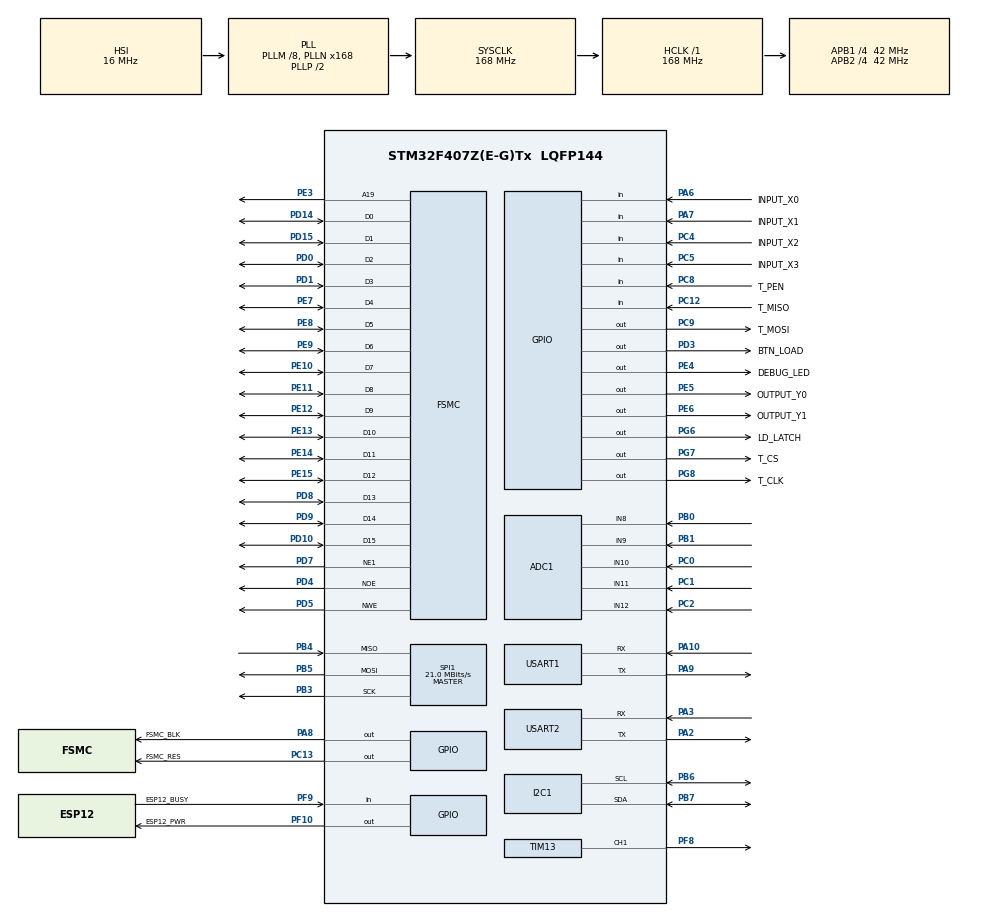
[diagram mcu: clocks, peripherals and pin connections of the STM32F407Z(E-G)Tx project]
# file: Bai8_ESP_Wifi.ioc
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ADC1.Channel-0\#ChannelRegularConversion=ADC_CHANNEL_8
ADC1.Channel-1\#ChannelRegularConversion=ADC_CHANNEL_9
ADC1.Channel-2\#ChannelRegularConversion=ADC_CHANNEL_10
ADC1.Channel-3\#ChannelRegularConversion=ADC_CHANNEL_11
ADC1.Channel-4\#ChannelRegularConversion=ADC_CHANNEL_12
ADC1.NbrOfConversion=5
ADC1.NbrOfConversionFlag=1
ADC1.Rank-0\#ChannelRegularConversion=1
ADC1.Rank-1\#ChannelRegularConversion=2
ADC1.Rank-2\#ChannelRegularConversion=3
ADC1.Rank-3\#ChannelRegularConversion=4
ADC1.Rank-4\#ChannelRegularConversion=5
ADC1.SamplingTime-0\#ChannelRegularConversion=ADC_SAMPLETIME_3CYCLES
ADC1.SamplingTime-1\#ChannelRegularConversion=ADC_SAMPLETIME_3CYCLES
ADC1.SamplingTime-2\#ChannelRegularConversion=ADC_SAMPLETIME_3CYCLES
ADC1.SamplingTime-3\#ChannelRegularConversion=ADC_SAMPLETIME_3CYCLES
ADC1.SamplingTime-4\#ChannelRegularConversion=ADC_SAMPLETIME_3CYCLES
ADC1.ScanConvMode=ENABLE
ADC1.master=1
Dma.ADC1.0.Direction=DMA_PERIPH_TO_MEMORY
Dma.ADC1.0.FIFOMode=DMA_FIFOMODE_DISABLE
Dma.ADC1.0.Instance=DMA2_Stream0
Dma.ADC1.0.MemDataAlignment=DMA_MDATAALIGN_HALFWORD
Dma.ADC1.0.MemInc=DMA_MINC_ENABLE
Dma.ADC1.0.Mode=DMA_CIRCULAR
Dma.ADC1.0.PeriphDataAlignment=DMA_PDATAALIGN_HALFWORD
Dma.ADC1.0.PeriphInc=DMA_PINC_DISABLE
Dma.ADC1.0.Priority=DMA_PRIORITY_LOW
Dma.Request0=ADC1
FSMC.AddressSetupTime1=0xf
FSMC.BusTurnAroundDuration1=0
FSMC.DataSetupTime1=60
FSMC.ExtendedAddressSetupTime1=8
FSMC.ExtendedBusTurnAroundDuration1=0
FSMC.ExtendedDataSetupTime1=9
FSMC.ExtendedMode1=FSMC_EXTENDED_MODE_ENABLE
I2C1.I2C_Mode=I2C_Standard
Mcu.Family=STM32F4
Mcu.Name=STM32F407Z(E-G)Tx
Mcu.Package=LQFP144
NVIC.DMA2_Stream0_IRQn=true\:0\:0\:false\:false\:true\:false\:true\:true
NVIC.PriorityGroup=NVIC_PRIORITYGROUP_4
NVIC.TIM2_IRQn=true\:0\:0\:false\:false\:true\:true\:true\:true
NVIC.USART1_IRQn=true\:0\:0\:false\:false\:true\:true\:true\:true
NVIC.USART2_IRQn=true\:0\:0\:false\:false\:true\:true\:true\:true
PA10.Mode=Asynchronous
PA10.Signal=USART1_RX
PA13.Mode=Serial_Wire
PA13.Signal=SYS_JTMS-SWDIO
PA14.Mode=Serial_Wire
PA14.Signal=SYS_JTCK-SWCLK
PA2.Mode=Asynchronous
PA2.Signal=USART2_TX
PA3.Mode=Asynchronous
PA3.Signal=USART2_RX
PA6.GPIO_Label=INPUT_X0
PA6.Signal=GPIO_Input
PA7.GPIO_Label=INPUT_X1
PA7.Signal=GPIO_Input
PA8.GPIO_Label=FSMC_BLK
PA8.Signal=GPIO_Output
PA9.Mode=Asynchronous
PA9.Signal=USART1_TX
PB0.Signal=ADCx_IN8
PB1.Signal=ADCx_IN9
PB3.Mode=Full_Duplex_Master
PB3.Signal=SPI1_SCK
PB4.Mode=Full_Duplex_Master
PB4.Signal=SPI1_MISO
PB5.Mode=Full_Duplex_Master
PB5.Signal=SPI1_MOSI
PB6.Mode=I2C
PB6.Signal=I2C1_SCL
PB7.Mode=I2C
PB7.Signal=I2C1_SDA
PC0.Signal=ADCx_IN10
PC1.Signal=ADCx_IN11
PC12.GPIO_Label=T_MISO
PC12.GPIO_PuPd=GPIO_PULLUP
PC12.Signal=GPIO_Input
PC13-ANTI_TAMP.GPIO_Label=FSMC_RES
PC13-ANTI_TAMP.Signal=GPIO_Output
PC2.Signal=ADCx_IN12
PC4.GPIO_Label=INPUT_X2
PC4.Signal=GPIO_Input
PC5.GPIO_Label=INPUT_X3
PC5.Signal=GPIO_Input
PC8.GPIO_Label=T_PEN
PC8.GPIO_PuPd=GPIO_PULLUP
PC8.Signal=GPIO_Input
PC9.GPIO_Label=T_MOSI
PC9.Signal=GPIO_Output
PD0.Signal=FSMC_D2_DA2
PD1.Signal=FSMC_D3_DA3
PD10.Signal=FSMC_D15_DA15
PD14.Signal=FSMC_D0_DA0
PD15.Signal=FSMC_D1_DA1
PD3.GPIO_Label=BTN_LOAD
PD3.Signal=GPIO_Output
PD4.Signal=FSMC_NOE
PD5.Signal=FSMC_NWE
PD7.Mode=NorPsramChipSelect1_1
PD7.Signal=FSMC_NE1
PD8.Signal=FSMC_D13_DA13
PD9.Signal=FSMC_D14_DA14
PE10.Signal=FSMC_D7_DA7
PE11.Signal=FSMC_D8_DA8
PE12.Signal=FSMC_D9_DA9
PE13.Signal=FSMC_D10_DA10
PE14.Signal=FSMC_D11_DA11
PE15.Signal=FSMC_D12_DA12
PE3.Signal=FSMC_A19
PE4.GPIO_Label=DEBUG_LED
PE4.Signal=GPIO_Output
PE5.GPIO_Label=OUTPUT_Y0
PE5.Signal=GPIO_Output
PE6.GPIO_Label=OUTPUT_Y1
PE6.Signal=GPIO_Output
PE7.Signal=FSMC_D4_DA4
PE8.Signal=FSMC_D5_DA5
PE9.Signal=FSMC_D6_DA6
PF10.GPIO_Label=ESP12_PWR
PF10.Signal=GPIO_Output
PF8.Signal=S_TIM13_CH1
PF9.GPIO_Label=ESP12_BUSY
PF9.Signal=GPIO_Input
PG6.GPIO_Label=LD_LATCH
PG6.Signal=GPIO_Output
PG7.GPIO_Label=T_CS
PG7.Signal=GPIO_Output
PG8.GPIO_Label=T_CLK
PG8.Signal=GPIO_Output
PH0-OSC_IN.Mode=HSE-External-Oscillator
PH0-OSC_IN.Signal=RCC_OSC_IN
PH1-OSC_OUT.Mode=HSE-External-Oscillator
PH1-OSC_OUT.Signal=RCC_OSC_OUT
ProjectManager.HeapSize=0x200
ProjectManager.StackSize=0x400
ProjectManager.TargetToolchain=STM32CubeIDE
RCC.48MHZClocksFreq_Value=84000000
RCC.AHBFreq_Value=168000000
RCC.APB1CLKDivider=RCC_HCLK_DIV4
RCC.APB1Freq_Value=42000000
RCC.APB1TimFreq_Value=84000000
RCC.APB2CLKDivider=RCC_HCLK_DIV4
RCC.APB2Freq_Value=42000000
RCC.APB2TimFreq_Value=84000000
RCC.CortexFreq_Value=168000000
RCC.HCLKFreq_Value=168000000
RCC.HSE_VALUE=8000000
RCC.HSI_VALUE=16000000
RCC.LSE_VALUE=32768
RCC.PLLM=8
RCC.PLLN=168
RCC.SYSCLKFreq_VALUE=168000000
RCC.SYSCLKSource=RCC_SYSCLKSOURCE_PLLCLK
RCC.VCOOutputFreq_Value=336000000
SH.ADCx_IN10.0=ADC1_IN10,IN10
SH.ADCx_IN11.0=ADC1_IN11,IN11
SH.ADCx_IN12.0=ADC1_IN12,IN12
SH.ADCx_IN8.0=ADC1_IN8,IN8
SH.ADCx_IN9.0=ADC1_IN9,IN9
SH.FSMC_A19.0=FSMC_A19,A19_1
SH.FSMC_D0_DA0.0=FSMC_D0,16b-d1
SH.FSMC_D10_DA10.0=FSMC_D10,16b-d1
SH.FSMC_D11_DA11.0=FSMC_D11,16b-d1
SH.FSMC_D12_DA12.0=FSMC_D12,16b-d1
SH.FSMC_D13_DA13.0=FSMC_D13,16b-d1
SH.FSMC_D14_DA14.0=FSMC_D14,16b-d1
SH.FSMC_D15_DA15.0=FSMC_D15,16b-d1
SH.FSMC_D1_DA1.0=FSMC_D1,16b-d1
SH.FSMC_D2_DA2.0=FSMC_D2,16b-d1
SH.FSMC_D3_DA3.0=FSMC_D3,16b-d1
SH.FSMC_D4_DA4.0=FSMC_D4,16b-d1
SH.FSMC_D5_DA5.0=FSMC_D5,16b-d1
SH.FSMC_D6_DA6.0=FSMC_D6,16b-d1
SH.FSMC_D7_DA7.0=FSMC_D7,16b-d1
SH.FSMC_D8_DA8.0=FSMC_D8,16b-d1
SH.FSMC_D9_DA9.0=FSMC_D9,16b-d1
SH.FSMC_NOE.0=FSMC_NOE,Lcd1
SH.FSMC_NWE.0=FSMC_NWE,Lcd1
SH.S_TIM13_CH1.0=TIM13_CH1,PWM Generation1 CH1
SPI1.BaudRatePrescaler=SPI_BAUDRATEPRESCALER_2
SPI1.CalculateBaudRate=21.0 MBits/s
SPI1.Direction=SPI_DIRECTION_2LINES
SPI1.Mode=SPI_MODE_MASTER
SPI1.VirtualType=VM_MASTER
TIM1.Prescaler=84-1
TIM13.Channel=TIM_CHANNEL_1
TIM13.Period=100-1
TIM13.Prescaler=840-1
TIM2.Period=100-1
TIM2.Prescaler=840-1
USART1.VirtualMode=VM_ASYNC
USART2.VirtualMode=VM_ASYNC
VP_TIM13_VS_ClockSourceINT.Mode=Enable_Timer
VP_TIM1_VS_ClockSourceINT.Mode=Internal
VP_TIM2_VS_ClockSourceINT.Mode=Internal
board=custom

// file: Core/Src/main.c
/* USER CODE BEGIN Header */
/**
  ******************************************************************************
  * @file           : main.c
  * @brief          : Main program body
  ******************************************************************************
  * @attention
  *
  * <h2><center>&copy; Copyright (c) 2023 STMicroelectronics.
  * All rights reserved.</center></h2>
  *
  * This software component is licensed by ST under BSD 3-Clause license,
  * the "License"; You may not use this file except in compliance with the
  * License. You may obtain a copy of the License at:
  *                        opensource.org/licenses/BSD-3-Clause
  *
  ******************************************************************************
  */
/* USER CODE END Header */
#include "main.h"
#include "adc.h"
#include "dma.h"
#include "i2c.h"
#include "spi.h"
#include "tim.h"
#include "usart.h"
#include "gpio.h"
#include "fsmc.h"

#include <string.h>
#include <stdio.h>

/* USER CODE BEGIN Includes */
#include "software_timer.h"
#include "led_7seg.h"
#include "button.h"
#include "lcd.h"
#include "picture.h"
#include "ds3231.h"
#include "sensor.h"
#include "buzzer.h"
#include "touch.h"
#include "uart.h"
#include "light_control.h"
/* USER CODE END Includes */

void SystemClock_Config(void);
/* USER CODE BEGIN PFP */
void system_init();
void test_LedDebug();
void sendTemp();
/* USER CODE END PFP */

int main(void)
{

  /* MCU Configuration--------------------------------------------------------*/

  /* Reset of all peripherals, Initializes the Flash interface and the Systick. */
  HAL_Init();

  /* Configure the system clock */
  SystemClock_Config();

  /* Initialize all configured peripherals */
  MX_GPIO_Init();
  MX_TIM2_Init();
  MX_SPI1_Init();
  MX_FSMC_Init();
  MX_I2C1_Init();
  MX_TIM13_Init();
  MX_DMA_Init();
  MX_ADC1_Init();
  MX_TIM1_Init();
  MX_USART2_UART_Init();
  MX_USART1_UART_Init();
  /* USER CODE BEGIN 2 */
  system_init();
  /* USER CODE END 2 */

  /* Infinite loop */
  /* USER CODE BEGIN WHILE */
 lcd_Clear(BLACK);
// timer_init();
// button_init();
// lcd_init();
// uart_init_esp();
// setTimer2(50);
// uart_init_rs232();
 while (1)
  {
	  // 50ms task
	 if(flag_timer2 == 1)
	 {
		  flag_timer2 = 0;

		  button_Scan();
		  test_Esp();
		  sendTemp();
	  }

    /* USER CODE END WHILE */

  }
}

void SystemClock_Config(void)
{
  RCC_OscInitTypeDef RCC_OscInitStruct = {0};
  RCC_ClkInitTypeDef RCC_ClkInitStruct = {0};

  /** Configure the main internal regulator output voltage
  */
  __HAL_RCC_PWR_CLK_ENABLE();
  __HAL_PWR_VOLTAGESCALING_CONFIG(PWR_REGULATOR_VOLTAGE_SCALE1);
  /** Initializes the RCC Oscillators according to the specified parameters
  * in the RCC_OscInitTypeDef structure.
  */
  RCC_OscInitStruct.OscillatorType = RCC_OSCILLATORTYPE_HSI;
  RCC_OscInitStruct.HSIState = RCC_HSI_ON;
  RCC_OscInitStruct.HSICalibrationValue = RCC_HSICALIBRATION_DEFAULT;
  RCC_OscInitStruct.PLL.PLLState = RCC_PLL_ON;
  RCC_OscInitStruct.PLL.PLLSource = RCC_PLLSOURCE_HSI;
  RCC_OscInitStruct.PLL.PLLM = 8;
  RCC_OscInitStruct.PLL.PLLN = 168;
  RCC_OscInitStruct.PLL.PLLP = RCC_PLLP_DIV2;
  RCC_OscInitStruct.PLL.PLLQ = 4;
  if (HAL_RCC_OscConfig(&RCC_OscInitStruct) != HAL_OK)
  {
    Error_Handler();
  }
  /** Initializes the CPU, AHB and APB buses clocks
  */
  RCC_ClkInitStruct.ClockType = RCC_CLOCKTYPE_HCLK|RCC_CLOCKTYPE_SYSCLK
                              |RCC_CLOCKTYPE_PCLK1|RCC_CLOCKTYPE_PCLK2;
  RCC_ClkInitStruct.SYSCLKSource = RCC_SYSCLKSOURCE_PLLCLK;
  RCC_ClkInitStruct.AHBCLKDivider = RCC_SYSCLK_DIV1;
  RCC_ClkInitStruct.APB1CLKDivider = RCC_HCLK_DIV4;
  RCC_ClkInitStruct.APB2CLKDivider = RCC_HCLK_DIV4;

  if (HAL_RCC_ClockConfig(&RCC_ClkInitStruct, FLASH_LATENCY_5) != HAL_OK)
  {
    Error_Handler();
  }
}

/* USER CODE BEGIN 4 */
void system_init(){
	  timer_init();
	  button_init();
	  lcd_init();
	  uart_init_esp();
	  setTimer2(50);
	  uart_init_rs232();
}

uint8_t count_led_debug = 0;

void test_LedDebug(){
	count_led_debug = (count_led_debug + 1)%20;
	if(count_led_debug == 0){
		HAL_GPIO_TogglePin(DEBUG_LED_GPIO_Port, DEBUG_LED_Pin);
	}
}

// "!TEMP:<Nhiệt độ>#"
int count = 0;
//char tempMessage[50];
//void floatToString(float value, char *buffer, int decimalPlaces) {
//    // Format the float value into the buffer with specified decimal places
//    sprintf(buffer, "%.*f", decimalPlaces, value);
//}
void sendTemp()
{

	count=(count+1)%600;
	if(count==0){
		sensor_Read();
		float value = sensor_GetTemperature();
	char tempMessage[50];
	lcd_ShowStr(100, 180, "Temperature: ", WHITE, BLACK, 18, 0);
	lcd_ShowFloatNum(130, 180,value, 4, RED, BLACK, 16);
		sprintf(tempMessage, "!TEMP:%.2f#", value);
		 uart_EspSendBytes((uint8_t *)tempMessage, strlen(tempMessage));
	}
}

/* USER CODE END 4 */

void Error_Handler(void)
{
  __disable_irq();
  while (1)
  {
  }
}

/************************ (C) COPYRIGHT STMicroelectronics *****END OF FILE****/
